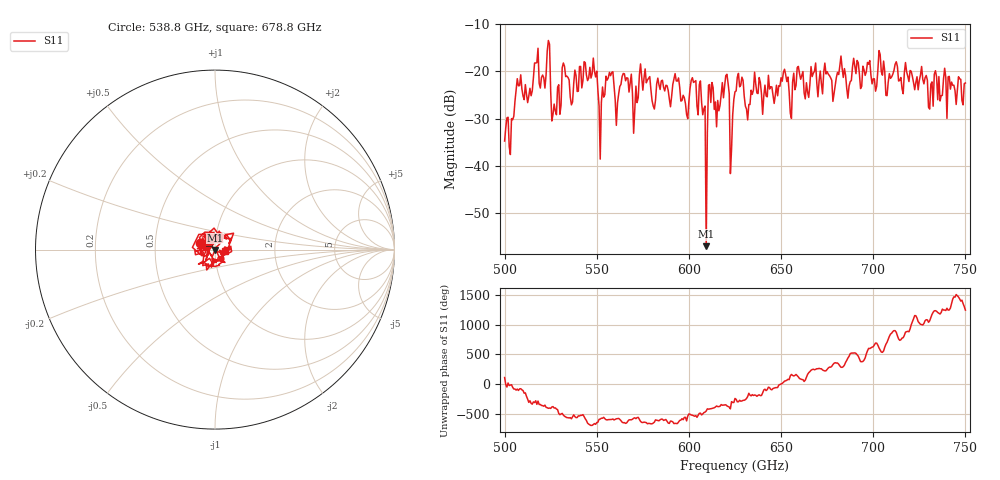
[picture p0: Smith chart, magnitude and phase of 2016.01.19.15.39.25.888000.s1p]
!Created with skrf (http://scikit-rf.org).
# GHz S RI R 50.0
!freq ReS11 ImS11
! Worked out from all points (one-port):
!   401 points, 500 GHz to 750 GHz, reference 50 ohm
!   lowest |S11| = -57.0 dB at 609.4 GHz (marker M1), VSWR 1.00, Z = 50 - j0.142 ohm
!   |S11| at or under -10 dB: start of sweep to end of sweep
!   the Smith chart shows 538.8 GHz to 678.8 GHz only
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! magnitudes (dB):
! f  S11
! 500 GHz  -34.7
! 516.9 GHz  -18.2
! 520.6 GHz  -20.8
! 523.8 GHz  -13.5
! 526.9 GHz  -26.9
! 531.2 GHz  -19.2
! 548.8 GHz  -20.0
! 552.5 GHz  -26.6
! 556.2 GHz  -21.4
! 562.5 GHz  -23.2
! 571.2 GHz  -23.1
! 575 GHz  -24.0
! 580.6 GHz  -27.3
! 593.8 GHz  -22.1
! 598.8 GHz  -29.2
! 602.5 GHz  -22.3
! 609.4 GHz  -57.0
! 611.9 GHz  -26.6
! 615 GHz  -31.7
! 620.6 GHz  -20.6
! 623.1 GHz  -36.5
! 625 GHz  -24.3
! 652.5 GHz  -20.7
! 656.2 GHz  -22.2
! 660 GHz  -20.5
! 687.5 GHz  -22.2
! 718.8 GHz  -21.0
! 750 GHz  -22.5
